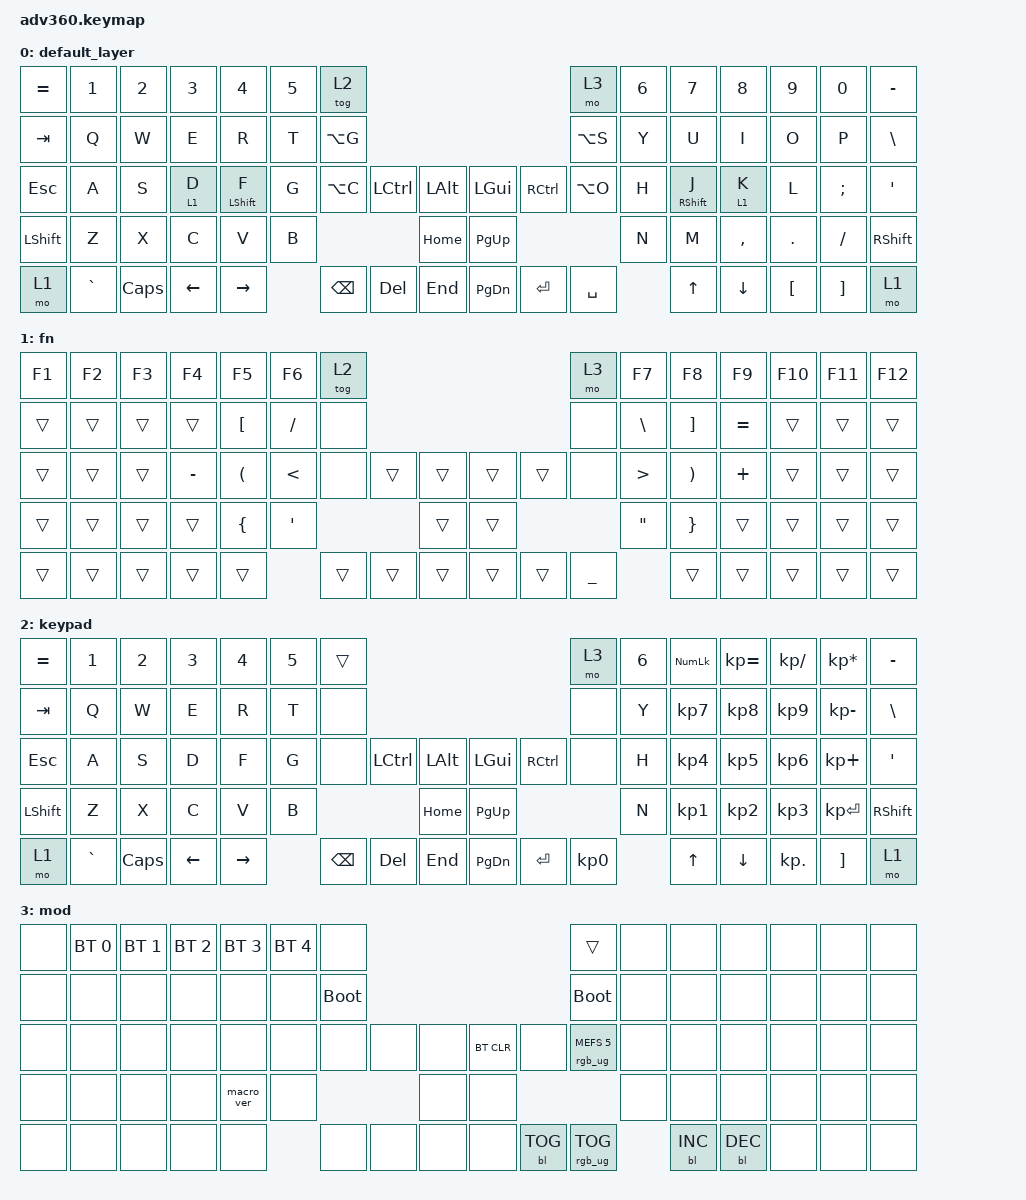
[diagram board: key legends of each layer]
#include <behaviors.dtsi>
#include <dt-bindings/zmk/backlight.h>
#include <dt-bindings/zmk/bt.h>
#include <dt-bindings/zmk/keys.h>
#include <dt-bindings/zmk/rgb.h>

/ {
    behaviors {
        #include "macros.dtsi"
      #include "version.dtsi"
      #ifndef VERSION_MACRO


        #endif

        hm: homerow_mods {
            compatible = "zmk,behavior-hold-tap";
            label = "HOMEROW_MODS";
            #binding-cells = <2>;
            tapping-term-ms = <200>;
            quick_tap_ms = <175>;
            flavor = "tap-preferred";
            bindings = <&kp>, <&kp>;
        };
    };

    keymap {
        compatible = "zmk,keymap";

        default_layer {
            bindings = <
&kp EQUAL  &kp N1     &kp N2    &kp N3    &kp N4            &kp N5  &tog 2                                                    &mo 3      &kp N6  &kp N7             &kp N8     &kp N9    &kp N0    &kp MINUS
&kp TAB    &kp Q      &kp W     &kp E     &kp R             &kp T   &kp LA(G)                                                 &kp LA(S)  &kp Y   &kp U              &kp I      &kp O     &kp P     &kp BSLH
&kp ESC    &kp A      &kp S     &lt 1 D   &mt LEFT_SHIFT F  &kp G   &kp LA(C)  &kp LCTRL  &kp LALT      &kp LGUI   &kp RCTRL  &kp LA(O)  &kp H   &mt RIGHT_SHIFT J  &lt 1 K    &kp L     &kp SEMI  &kp SQT
&kp LSHFT  &kp Z      &kp X     &kp C     &kp V             &kp B                         &kp HOME      &kp PG_UP                        &kp N   &kp M              &kp COMMA  &kp DOT   &kp FSLH  &kp RSHFT
&mo 1      &kp GRAVE  &kp CAPS  &kp LEFT  &kp RIGHT                 &kp BSPC   &kp DEL    &kp END       &kp PG_DN  &kp ENTER  &kp SPACE          &kp UP             &kp DOWN   &kp LBKT  &kp RBKT  &mo 1
            >;
        };

        fn {
            bindings = <
&kp F1  &kp F2  &kp F3  &kp F4     &kp F5                &kp F6            &tog 2                                      &mo 3           &kp F7             &kp F8                 &kp F9     &kp F10  &kp F11  &kp F12
&trans  &trans  &trans  &trans     &kp LEFT_BRACKET      &kp SLASH         &none                                       &none           &kp BACKSLASH      &kp RIGHT_BRACKET      &kp EQUAL  &trans   &trans   &trans
&trans  &trans  &trans  &kp MINUS  &kp LEFT_PARENTHESIS  &kp LESS_THAN     &none   &trans  &trans      &trans  &trans  &none           &kp GREATER_THAN   &kp RIGHT_PARENTHESIS  &kp PLUS   &trans   &trans   &trans
&trans  &trans  &trans  &trans     &kp LEFT_BRACE        &kp SINGLE_QUOTE                  &trans      &trans                          &kp DOUBLE_QUOTES  &kp RIGHT_BRACE        &trans     &trans   &trans   &trans
&trans  &trans  &trans  &trans     &trans                                  &trans  &trans  &trans      &trans  &trans  &kp UNDERSCORE                     &trans                 &trans     &trans   &trans   &trans
            >;
        };

        keypad {
            bindings = <
&kp EQUAL  &kp N1     &kp N2    &kp N3    &kp N4     &kp N5  &trans                                                   &mo 3      &kp N6  &kp KP_NUM  &kp KP_EQUAL  &kp KP_DIVIDE  &kp KP_MULTIPLY  &kp MINUS
&kp TAB    &kp Q      &kp W     &kp E     &kp R      &kp T   &none                                                    &none      &kp Y   &kp KP_N7   &kp KP_N8     &kp KP_N9      &kp KP_MINUS     &kp BSLH
&kp ESC    &kp A      &kp S     &kp D     &kp F      &kp G   &none     &kp LCTRL  &kp LALT      &kp LGUI   &kp RCTRL  &none      &kp H   &kp KP_N4   &kp KP_N5     &kp KP_N6      &kp KP_PLUS      &kp SQT
&kp LSHFT  &kp Z      &kp X     &kp C     &kp V      &kp B                        &kp HOME      &kp PG_UP                        &kp N   &kp KP_N1   &kp KP_N2     &kp KP_N3      &kp KP_ENTER     &kp RSHFT
&mo 1      &kp GRAVE  &kp CAPS  &kp LEFT  &kp RIGHT          &kp BSPC  &kp DEL    &kp END       &kp PG_DN  &kp ENTER  &kp KP_N0          &kp UP      &kp DOWN      &kp KP_DOT     &kp RBKT         &mo 1
            >;
        };

        mod {
            bindings = <
&none  &bt BT_SEL 0  &bt BT_SEL 1  &bt BT_SEL 2  &bt BT_SEL 3  &bt BT_SEL 4  &none                                                  &trans                  &none  &none       &none       &none  &none  &none
&none  &none         &none         &none         &none         &none         &bootloader                                            &bootloader             &none  &none       &none       &none  &none  &none
&none  &none         &none         &none         &none         &none         &none        &none  &none      &bt BT_CLR  &none       &rgb_ug RGB_MEFS_CMD 5  &none  &none       &none       &none  &none  &none
&none  &none         &none         &none         &macro_ver    &none                             &none      &none                                           &none  &none       &none       &none  &none  &none
&none  &none         &none         &none         &none                       &none        &none  &none      &none       &bl BL_TOG  &rgb_ug RGB_TOG                &bl BL_INC  &bl BL_DEC  &none  &none  &none
            >;
        };
    };
};
